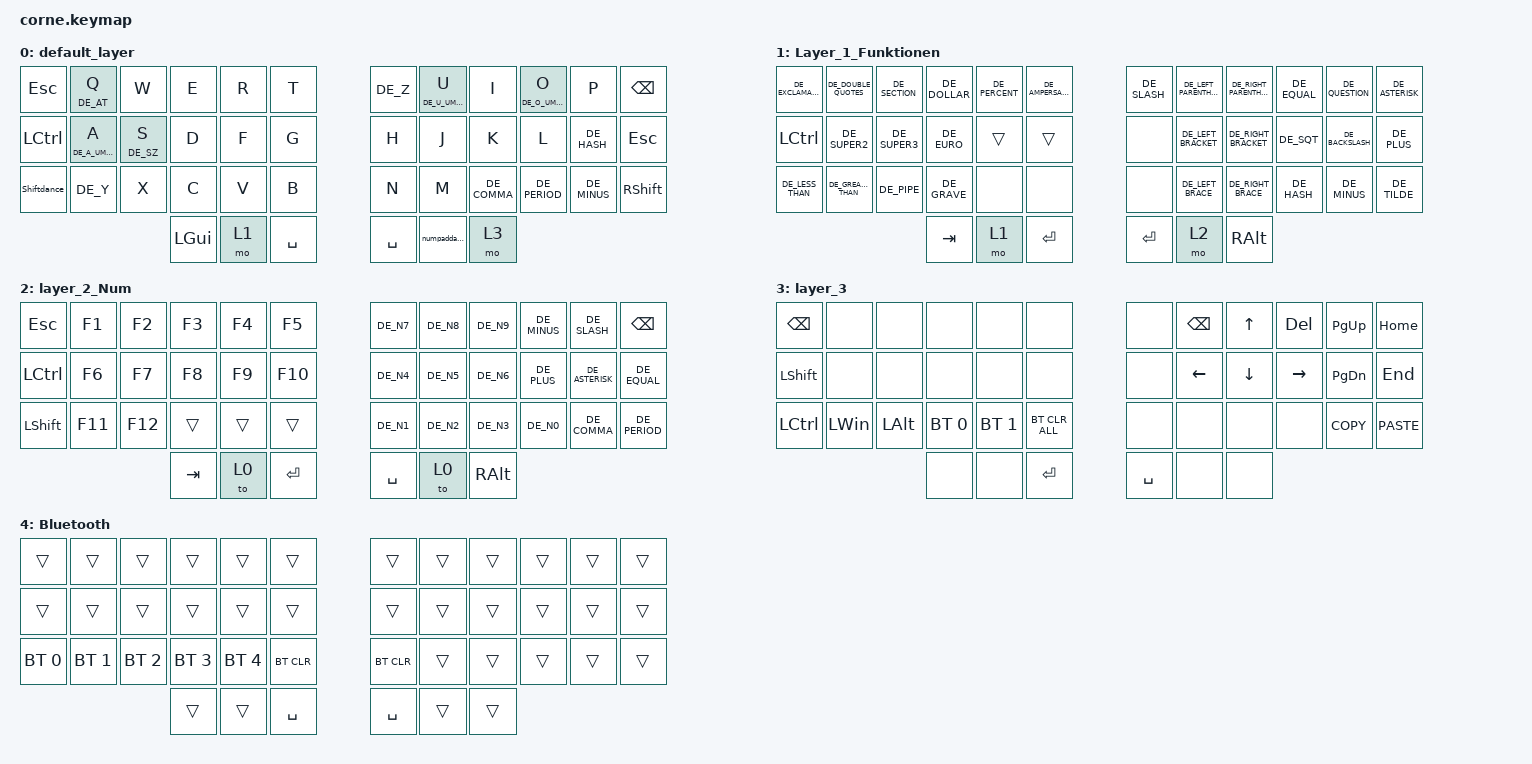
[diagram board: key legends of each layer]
/*
 * Copyright (c) 2020 The ZMK Contributors
 *
 * SPDX-License-Identifier: MIT
 */

#include "keys_de.h"
#include <behaviors.dtsi>
#include <dt-bindings/zmk/bt.h>
#include <dt-bindings/zmk/keys.h>

/ {
    behaviors {
        Umlautmain: Umlautmain {
            compatible = "zmk,behavior-hold-tap";
            label = "UMLAUTMAIN";
            bindings = <&kp>, <&kp>;

            #binding-cells = <2>;
            tapping-term-ms = <200>;
            flavor = "tap-preferred";
        };

        Shiftdance: Shiftdance {
            compatible = "zmk,behavior-tap-dance";
            label = "SHIFTDANCE";
            #binding-cells = <0>;
            bindings = <&kp LEFT_SHIFT>, <&kp CAPS>;
        };

        numpaddance: numpaddance {
            compatible = "zmk,behavior-tap-dance";
            label = "NUMPADDANCE";
            #binding-cells = <0>;
            bindings = <&mo 2>, <&to 2>;
        };
    };

    keymap {
        compatible = "zmk,keymap";

        default_layer {
            // -----------------------------------------------------------------------------------------
            // |  TAB |  Q  |  W  |  E  |  R  |  T  |   |  Y  |  U   |  I  |  O  |  P  | BKSP |
            // | CTRL |  A  |  S  |  D  |  F  |  G  |   |  H  |  J   |  K  |  L  |  ;  |  '   |
            // | SHFT |  Z  |  X  |  C  |  V  |  B  |   |  N  |  M   |  ,  |  .  |  /  | ESC  |
            //                    | GUI | LWR | SPC |   | ENT | RSE  | ALT |

            bindings = <
&kp ESCAPE   &Umlautmain DE_AT Q        &kp W                &kp E     &kp R  &kp T        &kp DE_Z   &Umlautmain DE_U_UMLAUT U  &kp I         &Umlautmain DE_O_UMLAUT O  &kp P         &kp BSPC
&kp LCTRL    &Umlautmain DE_A_UMLAUT A  &Umlautmain DE_SZ S  &kp D     &kp F  &kp G        &kp H      &kp J                      &kp K         &kp L                      &kp DE_HASH   &kp ESCAPE
&Shiftdance  &kp DE_Y                   &kp X                &kp C     &kp V  &kp B        &kp N      &kp M                      &kp DE_COMMA  &kp DE_PERIOD              &kp DE_MINUS  &kp RIGHT_SHIFT
                                                             &kp LGUI  &mo 1  &kp SPACE    &kp SPACE  &numpaddance               &mo 3
            >;
        };

        Layer_1_Funktionen {
            // -----------------------------------------------------------------------------------------
            // |  TAB |  !  |  @  |  #  |  $  |  %  |   |  ^  |  &  |  *  |  (  |  )  | BKSP |
            // | CTRL |     |     |     |     |     |   |  -  |  =  |  [  |  ]  |  \  |  `   |
            // | SHFT |     |     |     |     |     |   |  _  |  +  |  {  |  }  | "|" |  ~   |
            //                    | GUI |     | SPC |   | ENT |     | ALT |

            bindings = <
&kp DE_EXCLAMATION  &kp DE_DOUBLE_QUOTES  &kp DE_SECTION  &kp DE_DOLLAR  &kp DE_PERCENT  &kp DE_AMPERSAND    &kp DE_SLASH  &kp DE_LEFT_PARENTHESIS  &kp DE_RIGHT_PARENTHESIS  &kp DE_EQUAL  &kp DE_QUESTION   &kp DE_ASTERISK
&kp LCTRL           &kp DE_SUPER2         &kp DE_SUPER3   &kp DE_EURO    &trans          &trans              &none         &kp DE_LEFT_BRACKET      &kp DE_RIGHT_BRACKET      &kp DE_SQT    &kp DE_BACKSLASH  &kp DE_PLUS
&kp DE_LESS_THAN    &kp DE_GREATER_THAN   &kp DE_PIPE     &kp DE_GRAVE   &none           &none               &none         &kp DE_LEFT_BRACE        &kp DE_RIGHT_BRACE        &kp DE_HASH   &kp DE_MINUS      &kp DE_TILDE
                                                          &kp TAB        &mo 1           &kp ENTER           &kp ENTER     &mo 2                    &kp RALT
            >;
        };

        layer_2_Num {
            // -----------------------------------------------------------------------------------------
            // |  TAB |  1  |  2  |  3  |  4  |  5  |   |  6  |  7  |  8  |  9  |  0  | BKSP |
            // | BTCLR| BT1 | BT2 | BT3 | BT4 | BT5 |   | LFT | DWN |  UP | RGT |     |      |
            // | SHFT |     |     |     |     |     |   |     |     |     |     |     |      |
            //                    | GUI |     | SPC |   | ENT |     | ALT |

            bindings = <
&kp ESCAPE        &kp F1   &kp F2   &kp F3   &kp F4  &kp F5       &kp DE_N7  &kp DE_N8  &kp DE_N9  &kp DE_MINUS  &kp DE_SLASH     &kp BSPC
&kp LEFT_CONTROL  &kp F6   &kp F7   &kp F8   &kp F9  &kp F10      &kp DE_N4  &kp DE_N5  &kp DE_N6  &kp DE_PLUS   &kp DE_ASTERISK  &kp DE_EQUAL
&kp LSHFT         &kp F11  &kp F12  &trans   &trans  &trans       &kp DE_N1  &kp DE_N2  &kp DE_N3  &kp DE_N0     &kp DE_COMMA     &kp DE_PERIOD
                                    &kp TAB  &to 0   &kp ENTER    &kp SPACE  &to 0      &kp RALT
            >;
        };

        layer_3 {
            bindings = <
&kp BSPC        &none         &none     &none         &none         &none             &none      &kp BSPC        &kp UP_ARROW  &kp DELETE  &kp PAGE_UP    &kp HOME
&kp LEFT_SHIFT  &none         &none     &none         &none         &none             &none      &kp LEFT_ARROW  &kp DOWN      &kp RIGHT   &kp PAGE_DOWN  &kp END
&kp LCTRL       &kp LEFT_WIN  &kp LALT  &bt BT_SEL 0  &bt BT_SEL 1  &bt BT_CLR_ALL    &none      &none           &none         &none       &kp K_COPY     &kp K_PASTE
                                        &none         &none         &kp ENTER         &kp SPACE  &none           &none
            >;
        };

        Bluetooth {
            bindings = <
&trans        &trans        &trans        &trans        &trans        &trans        &trans      &trans  &trans  &trans  &trans  &trans
&trans        &trans        &trans        &trans        &trans        &trans        &trans      &trans  &trans  &trans  &trans  &trans
&bt BT_SEL 0  &bt BT_SEL 1  &bt BT_SEL 2  &bt BT_SEL 3  &bt BT_SEL 4  &bt BT_CLR    &bt BT_CLR  &trans  &trans  &trans  &trans  &trans
                                          &trans        &trans        &kp SPACE     &kp SPACE   &trans  &trans
            >;
        };
    };

    conditional_layers {
        compatible = "zmk,conditional-layers";

        Bluetooth {
            if-layers = <1 3>;
            then-layer = <4>;
        };
    };
};
